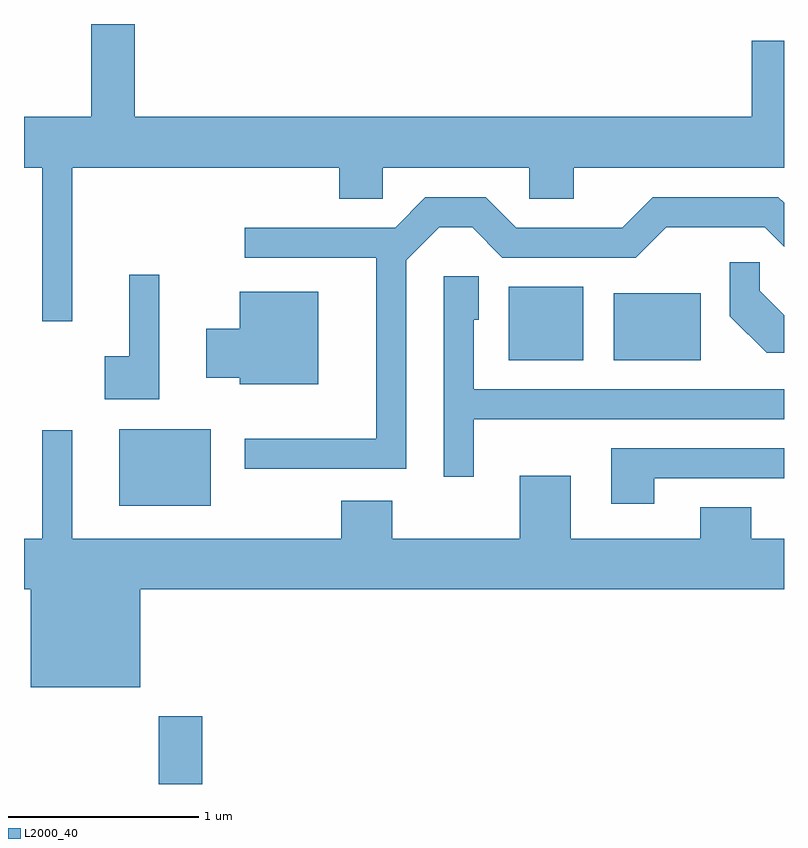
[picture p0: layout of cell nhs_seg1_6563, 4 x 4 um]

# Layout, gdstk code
import gdstk
lib = gdstk.Library(unit=1e-6, precision=1e-09)
def R(c, l, rs):  # rectangles x0, y0, x1, y1
    for r in rs: c.add(gdstk.rectangle(r[:2], r[2:], *l))
def P(c, l, *ps):  # polygons
    for p in ps: c.add(gdstk.Polygon(p, *l))
L2000_40 = (2000, 40)

nhs_seg1_6563 = lib.new_cell('nhs_seg1_6563')
R(nhs_seg1_6563, L2000_40, [(384.321,849.712,384.549,850.069), (384.111,851.176,384.594,851.579), (386.161,851.941,386.554,852.329), (386.716,851.941,387.174,852.294)])
P(nhs_seg1_6563, L2000_40, [(383.864,852.956),(385.271,852.956),(385.271,852.791),(385.499,852.791),(385.499,852.956),(386.271,852.956),(386.271,852.791),(386.504,852.791),(386.504,852.956),(387.611,852.956),(387.611,853.624),(387.441,853.624),(387.441,853.224),(384.194,853.224),(384.194,853.712),(383.966,853.712),(383.966,853.224),(383.611,853.224),(383.611,852.956),(383.706,852.956),(383.706,852.148),(383.864,852.148)],
  [(385.624,852.469),(385.797,852.641),(385.969,852.641),(386.129,852.481),(386.832,852.481),(386.992,852.641),(387.509,852.641),(387.611,852.539),(387.611,852.77),(387.582,852.799),(386.919,852.799),(386.759,852.639),(386.202,852.639),(386.042,852.799),(385.724,852.799),(385.564,852.639),(384.773,852.639),(384.773,852.481),(385.466,852.481),(385.466,851.529),(384.773,851.529),(384.773,851.371),(385.624,851.371)],
  [(387.611,852.18),(387.484,852.307),(387.484,852.458),(387.326,852.458),(387.326,852.174),(387.519,851.981),(387.611,851.981)],
  [(384.324,852.393),(384.166,852.393),(384.166,851.964),(384.036,851.964),(384.036,851.736),(384.324,851.736)],
  [(385.979,851.631),(387.611,851.631),(387.611,851.789),(385.979,851.789),(385.979,852.156),(386.004,852.156),(386.004,852.384),(385.821,852.384),(385.821,851.328),(385.979,851.328)],
  [(385.159,852.304),(384.746,852.304),(384.746,852.109),(384.571,852.109),(384.571,851.851),(384.746,851.851),(384.746,851.816),(385.159,851.816)],
  [(384.224,850.736),(387.611,850.736),(387.611,851.004),(387.439,851.004),(387.439,851.169),(387.171,851.169),(387.171,851.004),(386.489,851.004),(386.489,851.334),(386.221,851.334),(386.221,851.004),(385.549,851.004),(385.549,851.204),(385.281,851.204),(385.281,851.004),(383.864,851.004),(383.864,851.573),(383.706,851.573),(383.706,851.004),(383.611,851.004),(383.611,850.736),(383.646,850.736),(383.646,850.221),(384.224,850.221)],
  [(386.929,851.321),(387.611,851.321),(387.611,851.479),(386.701,851.479),(386.701,851.186),(386.929,851.186)])

lib.write_gds('nhs_seg1_6563.gds')
